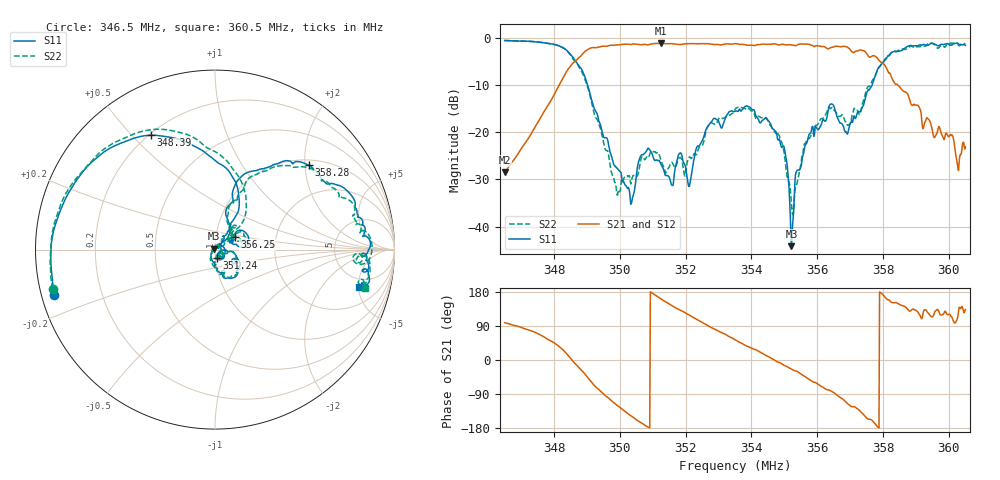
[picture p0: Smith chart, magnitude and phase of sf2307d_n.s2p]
# Hz S RI R 50
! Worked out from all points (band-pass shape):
!   801 points, 346.5 MHz to 360.5 MHz, reference 50 ohm
!   highest |S21| = -1.23 dB at 351.24 MHz (marker M1); lowest = -28.5 dB at 346.5 MHz (marker M2)
!   |S21| within 3 dB of the highest: 348.76 MHz to 357.81 MHz (9.053 MHz wide, 2.56 % of centre)
!   lowest |S11| = -44.1 dB at 355.21 MHz (marker M3), VSWR 1.01, Z = 49.6 + j0.509 ohm
!   |S11| at or under -10 dB: 349.02 MHz to 357.67 MHz (8.648 MHz wide, 2.45 % of centre)
!   |S22| runs from -37.5 to -0.6 dB; largest |S21 - S12| = 0.0031
!   S11 on the Smith chart (normalised r, x): 346.5 MHz: 0.04, -0.14; 348.39 MHz: 0.21, +0.57; 351.24 MHz: 1.02, -0.09; 356.25 MHz: 1.23, +0.18; 358.28 MHz: 1.13, +2.09; 360.5 MHz: 3.74, -4.99
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3.465e8  -0.8951 -0.2505  -0.00549 0.0371  -0.00569 0.0372  -0.9052 -0.219
3.476375e8  -0.8493 0.2471  0.0669 0.1359  0.0668 0.1369  -0.8359 0.3032
3.4839e8  -0.3571 0.6372  0.4245 0.122  0.4272 0.1221  -0.2807 0.669
3.48845e8  0.0613 0.4548  0.5824 -0.3009  0.583 -0.3039  0.1268 0.4141
3.493875e8  0.0718 0.103  0.1378 -0.7826  0.1365 -0.7831  0.0891 0.0745
3.499475e8  0.024 0.0323  -0.4358 -0.7125  -0.4365 -0.7125  0.0179 0.0165
3.503675e8  0.0152 0.0111  -0.7268 -0.4408  -0.7274 -0.4404  0.0321 -0.00305
3.506475e8  0.0565 -0.00507  -0.8119 -0.2095  -0.8119 -0.2089  0.0472 -0.0236
3.511725e8  0.0152 -0.0476  -0.839 0.2144  -0.8392 0.2151  0.0144 -0.0589
3.512425e8  0.00961 -0.0453  -0.8241 0.2724  -0.8244 0.2728  0.00725 -0.0511
3.521175e8  0.0242 -0.0122  -0.4054 0.7613  -0.4049 0.7618  0.0459 -0.0301
3.526775e8  0.1114 -0.0259  -0.00805 0.8612  -0.00743 0.8609  0.1125 -0.0302
3.535e8  0.1269 -0.1072  0.5124 0.6936  0.5127 0.6927  0.1371 -0.1058
3.547075e8  0.0101 -0.1034  0.8567 -0.0111  0.8564 -0.0111  0.00627 -0.1
3.5504e8  -0.0183 -0.0534  0.8033 -0.2298  0.8034 -0.23  -0.0219 -0.0385
3.55215e8  -0.00354 0.00513  0.7632 -0.3409  0.7632 -0.3414  -0.0166 -0.00502
3.55845e8  0.0959 0.0623  0.4568 -0.6869  0.4562 -0.6877  0.0718 0.062
3.562475e8  0.1089 0.0717  0.1834 -0.7682  0.1824 -0.7685  0.1222 0.0915
3.5742e8  0.0609 0.1912  -0.5963 -0.4096  -0.5981 -0.4092  0.0738 0.2119
3.581725e8  0.4342 0.4787  -0.3926 0.153  -0.3924 0.155  0.4489 0.4593
3.582775e8  0.5223 0.4696  -0.321 0.1741  -0.3202 0.1759  0.539 0.4491
3.605e8  0.7997 -0.2107  -0.0481 0.0508  -0.0476 0.0508  0.8366 -0.2126
